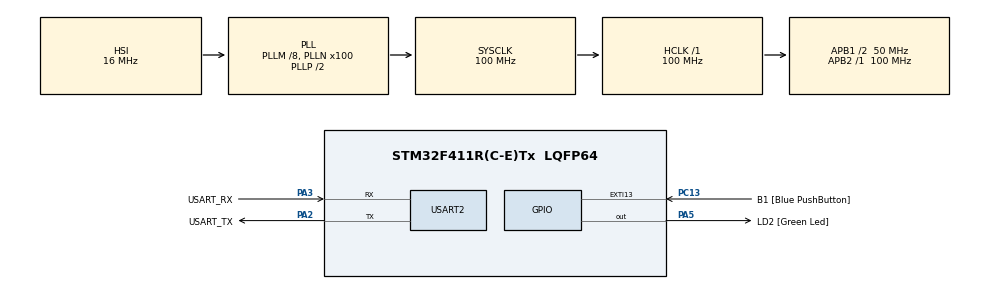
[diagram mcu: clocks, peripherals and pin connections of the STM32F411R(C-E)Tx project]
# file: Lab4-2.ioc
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Mcu.Family=STM32F4
Mcu.Name=STM32F411R(C-E)Tx
Mcu.Package=LQFP64
NVIC.PriorityGroup=NVIC_PRIORITYGROUP_0
NVIC.TIM2_IRQn=true\:0\:0\:false\:false\:true\:true\:true
NVIC.TIM3_IRQn=true\:0\:0\:false\:false\:true\:true\:true
NVIC.TIM4_IRQn=true\:0\:0\:false\:false\:true\:true\:true
PA13.GPIO_Label=TMS
PA13.Mode=Serial_Wire
PA13.Signal=SYS_JTMS-SWDIO
PA14.GPIO_Label=TCK
PA14.Mode=Serial_Wire
PA14.Signal=SYS_JTCK-SWCLK
PA2.GPIO_Label=USART_TX
PA2.Mode=Asynchronous
PA2.Signal=USART2_TX
PA3.GPIO_Label=USART_RX
PA3.Mode=Asynchronous
PA3.Signal=USART2_RX
PA5.GPIO_Label=LD2 [Green Led]
PA5.Signal=GPIO_Output
PB3.GPIO_Label=SWO
PB3.Signal=SYS_JTDO-SWO
PC13-ANTI_TAMP.GPIO_Label=B1 [Blue PushButton]
PC13-ANTI_TAMP.GPIO_ModeDefaultEXTI=GPIO_MODE_IT_FALLING
PC13-ANTI_TAMP.Signal=GPXTI13
PC14-OSC32_IN.Mode=LSE-External-Oscillator
PC14-OSC32_IN.Signal=RCC_OSC32_IN
PC15-OSC32_OUT.Mode=LSE-External-Oscillator
PC15-OSC32_OUT.Signal=RCC_OSC32_OUT
PH0\ -\ OSC_IN.Mode=HSE-External-Oscillator
PH0\ -\ OSC_IN.Signal=RCC_OSC_IN
PH1\ -\ OSC_OUT.Mode=HSE-External-Oscillator
PH1\ -\ OSC_OUT.Signal=RCC_OSC_OUT
ProjectManager.HeapSize=0x200
ProjectManager.StackSize=0x400
ProjectManager.TargetToolchain=STM32CubeIDE
RCC.48MHZClocksFreq_Value=50000000
RCC.AHBFreq_Value=100000000
RCC.APB1CLKDivider=RCC_HCLK_DIV2
RCC.APB1Freq_Value=50000000
RCC.APB1TimFreq_Value=100000000
RCC.APB2Freq_Value=100000000
RCC.APB2TimFreq_Value=100000000
RCC.CortexFreq_Value=100000000
RCC.FLatency-AdvancedSettings=FLASH_LATENCY_3
RCC.HCLKFreq_Value=100000000
RCC.HSE_VALUE=8000000
RCC.HSI_VALUE=16000000
RCC.PLLM=8
RCC.PLLN=100
RCC.SYSCLKFreq_VALUE=100000000
RCC.SYSCLKSource=RCC_SYSCLKSOURCE_PLLCLK
RCC.VCOOutputFreq_Value=200000000
TIM2.Channel-Output\ Compare1\ No\ Output=TIM_CHANNEL_1
TIM2.Period=5000
TIM2.Prescaler=10000
TIM3.Channel-Output\ Compare1\ No\ Output=TIM_CHANNEL_1
TIM3.Period=4905
TIM3.Prescaler=10000
TIM4.Channel-Output\ Compare1\ No\ Output=TIM_CHANNEL_1
TIM4.Period=9999
TIM4.Prescaler=10000
USART2.VirtualMode=VM_ASYNC
VP_TIM2_VS_ClockSourceINT.Mode=Internal
VP_TIM2_VS_no_output1.Mode=Output Compare1 No Output
VP_TIM3_VS_ClockSourceINT.Mode=Internal
VP_TIM3_VS_no_output1.Mode=Output Compare1 No Output
VP_TIM4_VS_ClockSourceINT.Mode=Internal
VP_TIM4_VS_no_output1.Mode=Output Compare1 No Output
board=NUCLEO-F411RE

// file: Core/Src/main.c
/* USER CODE BEGIN Header */
/**
 ******************************************************************************
 * @file           : main.c
 * @brief          : Main program body
 ******************************************************************************
 * @attention
 *
 * <h2><center>&copy; Copyright (c) 2021 STMicroelectronics.
 * All rights reserved.</center></h2>
 *
 * This software component is licensed by ST under BSD 3-Clause license,
 * the "License"; You may not use this file except in compliance with the
 * License. You may obtain a copy of the License at:
 *                        opensource.org/licenses/BSD-3-Clause
 *
 ******************************************************************************
 */
/* USER CODE END Header */
#include "main.h"

TIM_HandleTypeDef htim2;
TIM_HandleTypeDef htim3;
TIM_HandleTypeDef htim4;

UART_HandleTypeDef huart2;

void SystemClock_Config(void);
static void MX_GPIO_Init(void);
static void MX_USART2_UART_Init(void);
static void MX_TIM2_Init(void);
static void MX_TIM3_Init(void);
static void MX_TIM4_Init(void);

/* USER CODE BEGIN 0 */
int red = 0;
int green = 0;
char text[32];
/* USER CODE END 0 */

int main(void)
{

  /* MCU Configuration--------------------------------------------------------*/

  /* Reset of all peripherals, Initializes the Flash interface and the Systick. */
  HAL_Init();

  /* Configure the system clock */
  SystemClock_Config();

  /* Initialize all configured peripherals */
  MX_GPIO_Init();
  MX_USART2_UART_Init();
  MX_TIM2_Init();
  MX_TIM3_Init();
  MX_TIM4_Init();
  /* USER CODE BEGIN 2 */
  HAL_TIM_Base_Start_IT(&htim2);
  HAL_TIM_Base_Start_IT(&htim3);
  HAL_TIM_Base_Start_IT(&htim4);
  /* USER CODE END 2 */

  /* Infinite loop */
	while (1) {

	}
}

void SystemClock_Config(void)
{
  RCC_OscInitTypeDef RCC_OscInitStruct = {0};
  RCC_ClkInitTypeDef RCC_ClkInitStruct = {0};

  /** Configure the main internal regulator output voltage
  */
  __HAL_RCC_PWR_CLK_ENABLE();
  __HAL_PWR_VOLTAGESCALING_CONFIG(PWR_REGULATOR_VOLTAGE_SCALE1);
  /** Initializes the RCC Oscillators according to the specified parameters
  * in the RCC_OscInitTypeDef structure.
  */
  RCC_OscInitStruct.OscillatorType = RCC_OSCILLATORTYPE_HSI;
  RCC_OscInitStruct.HSIState = RCC_HSI_ON;
  RCC_OscInitStruct.HSICalibrationValue = RCC_HSICALIBRATION_DEFAULT;
  RCC_OscInitStruct.PLL.PLLState = RCC_PLL_ON;
  RCC_OscInitStruct.PLL.PLLSource = RCC_PLLSOURCE_HSI;
  RCC_OscInitStruct.PLL.PLLM = 8;
  RCC_OscInitStruct.PLL.PLLN = 100;
  RCC_OscInitStruct.PLL.PLLP = RCC_PLLP_DIV2;
  RCC_OscInitStruct.PLL.PLLQ = 4;
  if (HAL_RCC_OscConfig(&RCC_OscInitStruct) != HAL_OK)
  {
    Error_Handler();
  }
  /** Initializes the CPU, AHB and APB buses clocks
  */
  RCC_ClkInitStruct.ClockType = RCC_CLOCKTYPE_HCLK|RCC_CLOCKTYPE_SYSCLK
                              |RCC_CLOCKTYPE_PCLK1|RCC_CLOCKTYPE_PCLK2;
  RCC_ClkInitStruct.SYSCLKSource = RCC_SYSCLKSOURCE_PLLCLK;
  RCC_ClkInitStruct.AHBCLKDivider = RCC_SYSCLK_DIV1;
  RCC_ClkInitStruct.APB1CLKDivider = RCC_HCLK_DIV2;
  RCC_ClkInitStruct.APB2CLKDivider = RCC_HCLK_DIV1;

  if (HAL_RCC_ClockConfig(&RCC_ClkInitStruct, FLASH_LATENCY_3) != HAL_OK)
  {
    Error_Handler();
  }
}

static void MX_TIM2_Init(void)
{

  TIM_ClockConfigTypeDef sClockSourceConfig = {0};
  TIM_MasterConfigTypeDef sMasterConfig = {0};
  TIM_OC_InitTypeDef sConfigOC = {0};

  htim2.Instance = TIM2;
  htim2.Init.Prescaler = 10000;
  htim2.Init.CounterMode = TIM_COUNTERMODE_UP;
  htim2.Init.Period = 5000;
  htim2.Init.ClockDivision = TIM_CLOCKDIVISION_DIV1;
  htim2.Init.AutoReloadPreload = TIM_AUTORELOAD_PRELOAD_DISABLE;
  if (HAL_TIM_Base_Init(&htim2) != HAL_OK)
  {
    Error_Handler();
  }
  sClockSourceConfig.ClockSource = TIM_CLOCKSOURCE_INTERNAL;
  if (HAL_TIM_ConfigClockSource(&htim2, &sClockSourceConfig) != HAL_OK)
  {
    Error_Handler();
  }
  if (HAL_TIM_OC_Init(&htim2) != HAL_OK)
  {
    Error_Handler();
  }
  sMasterConfig.MasterOutputTrigger = TIM_TRGO_RESET;
  sMasterConfig.MasterSlaveMode = TIM_MASTERSLAVEMODE_DISABLE;
  if (HAL_TIMEx_MasterConfigSynchronization(&htim2, &sMasterConfig) != HAL_OK)
  {
    Error_Handler();
  }
  sConfigOC.OCMode = TIM_OCMODE_TIMING;
  sConfigOC.Pulse = 0;
  sConfigOC.OCPolarity = TIM_OCPOLARITY_HIGH;
  sConfigOC.OCFastMode = TIM_OCFAST_DISABLE;
  if (HAL_TIM_OC_ConfigChannel(&htim2, &sConfigOC, TIM_CHANNEL_1) != HAL_OK)
  {
    Error_Handler();
  }

}

static void MX_TIM3_Init(void)
{

  TIM_ClockConfigTypeDef sClockSourceConfig = {0};
  TIM_MasterConfigTypeDef sMasterConfig = {0};
  TIM_OC_InitTypeDef sConfigOC = {0};

  htim3.Instance = TIM3;
  htim3.Init.Prescaler = 10000;
  htim3.Init.CounterMode = TIM_COUNTERMODE_UP;
  htim3.Init.Period = 4905;
  htim3.Init.ClockDivision = TIM_CLOCKDIVISION_DIV1;
  htim3.Init.AutoReloadPreload = TIM_AUTORELOAD_PRELOAD_DISABLE;
  if (HAL_TIM_Base_Init(&htim3) != HAL_OK)
  {
    Error_Handler();
  }
  sClockSourceConfig.ClockSource = TIM_CLOCKSOURCE_INTERNAL;
  if (HAL_TIM_ConfigClockSource(&htim3, &sClockSourceConfig) != HAL_OK)
  {
    Error_Handler();
  }
  if (HAL_TIM_OC_Init(&htim3) != HAL_OK)
  {
    Error_Handler();
  }
  sMasterConfig.MasterOutputTrigger = TIM_TRGO_RESET;
  sMasterConfig.MasterSlaveMode = TIM_MASTERSLAVEMODE_DISABLE;
  if (HAL_TIMEx_MasterConfigSynchronization(&htim3, &sMasterConfig) != HAL_OK)
  {
    Error_Handler();
  }
  sConfigOC.OCMode = TIM_OCMODE_TIMING;
  sConfigOC.Pulse = 0;
  sConfigOC.OCPolarity = TIM_OCPOLARITY_HIGH;
  sConfigOC.OCFastMode = TIM_OCFAST_DISABLE;
  if (HAL_TIM_OC_ConfigChannel(&htim3, &sConfigOC, TIM_CHANNEL_1) != HAL_OK)
  {
    Error_Handler();
  }

}

static void MX_TIM4_Init(void)
{

  TIM_ClockConfigTypeDef sClockSourceConfig = {0};
  TIM_MasterConfigTypeDef sMasterConfig = {0};
  TIM_OC_InitTypeDef sConfigOC = {0};

  htim4.Instance = TIM4;
  htim4.Init.Prescaler = 10000;
  htim4.Init.CounterMode = TIM_COUNTERMODE_UP;
  htim4.Init.Period = 9999;
  htim4.Init.ClockDivision = TIM_CLOCKDIVISION_DIV1;
  htim4.Init.AutoReloadPreload = TIM_AUTORELOAD_PRELOAD_DISABLE;
  if (HAL_TIM_Base_Init(&htim4) != HAL_OK)
  {
    Error_Handler();
  }
  sClockSourceConfig.ClockSource = TIM_CLOCKSOURCE_INTERNAL;
  if (HAL_TIM_ConfigClockSource(&htim4, &sClockSourceConfig) != HAL_OK)
  {
    Error_Handler();
  }
  if (HAL_TIM_OC_Init(&htim4) != HAL_OK)
  {
    Error_Handler();
  }
  sMasterConfig.MasterOutputTrigger = TIM_TRGO_RESET;
  sMasterConfig.MasterSlaveMode = TIM_MASTERSLAVEMODE_DISABLE;
  if (HAL_TIMEx_MasterConfigSynchronization(&htim4, &sMasterConfig) != HAL_OK)
  {
    Error_Handler();
  }
  sConfigOC.OCMode = TIM_OCMODE_TIMING;
  sConfigOC.Pulse = 0;
  sConfigOC.OCPolarity = TIM_OCPOLARITY_HIGH;
  sConfigOC.OCFastMode = TIM_OCFAST_DISABLE;
  if (HAL_TIM_OC_ConfigChannel(&htim4, &sConfigOC, TIM_CHANNEL_1) != HAL_OK)
  {
    Error_Handler();
  }

}

static void MX_USART2_UART_Init(void)
{

  huart2.Instance = USART2;
  huart2.Init.BaudRate = 115200;
  huart2.Init.WordLength = UART_WORDLENGTH_8B;
  huart2.Init.StopBits = UART_STOPBITS_1;
  huart2.Init.Parity = UART_PARITY_NONE;
  huart2.Init.Mode = UART_MODE_TX_RX;
  huart2.Init.HwFlowCtl = UART_HWCONTROL_NONE;
  huart2.Init.OverSampling = UART_OVERSAMPLING_16;
  if (HAL_UART_Init(&huart2) != HAL_OK)
  {
    Error_Handler();
  }

}

static void MX_GPIO_Init(void)
{
  GPIO_InitTypeDef GPIO_InitStruct = {0};

  /* GPIO Ports Clock Enable */
  __HAL_RCC_GPIOC_CLK_ENABLE();
  __HAL_RCC_GPIOH_CLK_ENABLE();
  __HAL_RCC_GPIOA_CLK_ENABLE();
  __HAL_RCC_GPIOB_CLK_ENABLE();

  /*Configure GPIO pin Output Level */
  HAL_GPIO_WritePin(LD2_GPIO_Port, LD2_Pin, GPIO_PIN_RESET);

  /*Configure GPIO pin : B1_Pin */
  GPIO_InitStruct.Pin = B1_Pin;
  GPIO_InitStruct.Mode = GPIO_MODE_IT_FALLING;
  GPIO_InitStruct.Pull = GPIO_NOPULL;
  HAL_GPIO_Init(B1_GPIO_Port, &GPIO_InitStruct);

  /*Configure GPIO pin : LD2_Pin */
  GPIO_InitStruct.Pin = LD2_Pin;
  GPIO_InitStruct.Mode = GPIO_MODE_OUTPUT_PP;
  GPIO_InitStruct.Pull = GPIO_NOPULL;
  GPIO_InitStruct.Speed = GPIO_SPEED_FREQ_LOW;
  HAL_GPIO_Init(LD2_GPIO_Port, &GPIO_InitStruct);

}

/* USER CODE BEGIN 4 */
void HAL_TIM_PeriodElapsedCallback(TIM_HandleTypeDef *htim) {
	if (htim->Instance == TIM2){
		red++;
	}
	else if (htim->Instance == TIM3) {
		green++;
		HAL_GPIO_TogglePin(GPIOA, GPIO_PIN_5);
	} else {
		sprintf(text,"Red : %d, Green : %d\n\r", red/2, green/2);
		HAL_UART_Transmit(&huart2, (uint32_t) text, sizeof(text), 1000);
	}

}
/* USER CODE END 4 */

void Error_Handler(void)
{
	__disable_irq();
	while (1) {
	}
}

/************************ (C) COPYRIGHT STMicroelectronics *****END OF FILE****/
